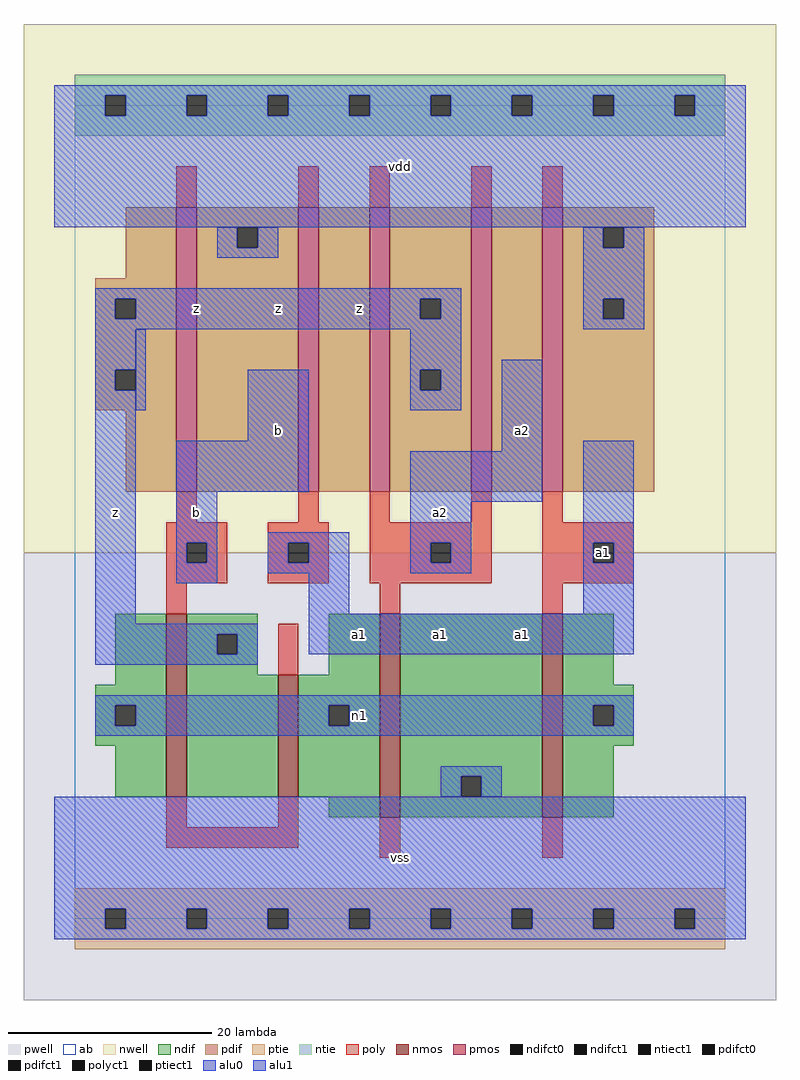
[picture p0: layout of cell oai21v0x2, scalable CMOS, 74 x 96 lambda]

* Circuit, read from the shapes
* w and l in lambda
.subckt oai21v0x2 a1 a2 b n1 vdd vss z
M1 z b n1 vss nfet w=18 l=2
M2 n1 b z vss nfet w=12 l=2
M3 vss a2 n1 vss nfet w=20 l=2
M4 n1 a1 vss vss nfet w=20 l=2
M5 vdd b z vdd pfet w=28 l=2
M6 n2 a1 vdd vdd pfet w=28 l=2
M7 z a2 n2 vdd pfet w=28 l=2
M8 n3 a2 z vdd pfet w=28 l=2
M9 vdd a1 n3 vdd pfet w=28 l=2
.ends

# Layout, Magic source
magic
tech scmos
<< ab >>
rect 0 0 64 80
<< nwell >>
rect -5 36 69 88
<< pwell >>
rect -5 -8 69 36
<< poly >>
rect 10 70 12 74
rect 22 70 24 74
rect 29 70 31 74
rect 39 70 41 74
rect 46 70 48 74
rect 10 39 12 42
rect 22 39 24 42
rect 29 39 31 42
rect 39 39 41 42
rect 9 37 15 39
rect 9 35 11 37
rect 13 35 15 37
rect 9 33 15 35
rect 19 37 25 39
rect 19 35 21 37
rect 23 35 25 37
rect 19 33 25 35
rect 29 37 41 39
rect 29 35 35 37
rect 37 35 41 37
rect 29 33 41 35
rect 46 39 48 42
rect 46 37 55 39
rect 46 35 51 37
rect 53 35 55 37
rect 46 33 55 35
rect 9 30 11 33
rect 30 30 32 33
rect 46 30 48 33
rect 20 24 22 29
rect 9 9 11 12
rect 20 9 22 12
rect 9 7 22 9
rect 30 6 32 10
rect 46 6 48 10
<< ndif >>
rect 4 23 9 30
rect 2 21 9 23
rect 2 19 4 21
rect 6 19 9 21
rect 2 17 9 19
rect 4 12 9 17
rect 11 28 18 30
rect 11 26 14 28
rect 16 26 18 28
rect 11 24 18 26
rect 25 24 30 30
rect 11 12 20 24
rect 22 21 30 24
rect 22 19 25 21
rect 27 19 30 21
rect 22 12 30 19
rect 25 10 30 12
rect 32 14 46 30
rect 32 12 38 14
rect 40 12 46 14
rect 32 10 46 12
rect 48 23 53 30
rect 48 21 55 23
rect 48 19 51 21
rect 53 19 55 21
rect 48 17 55 19
rect 48 10 53 17
<< pdif >>
rect 5 63 10 70
rect 2 61 10 63
rect 2 59 4 61
rect 6 59 10 61
rect 2 54 10 59
rect 2 52 4 54
rect 6 52 10 54
rect 2 50 10 52
rect 5 42 10 50
rect 12 68 22 70
rect 12 66 16 68
rect 18 66 22 68
rect 12 42 22 66
rect 24 42 29 70
rect 31 61 39 70
rect 31 59 34 61
rect 36 59 39 61
rect 31 54 39 59
rect 31 52 34 54
rect 36 52 39 54
rect 31 42 39 52
rect 41 42 46 70
rect 48 68 57 70
rect 48 66 52 68
rect 54 66 57 68
rect 48 61 57 66
rect 48 59 52 61
rect 54 59 57 61
rect 48 42 57 59
<< alu1 >>
rect -2 81 66 82
rect -2 79 3 81
rect 5 79 11 81
rect 13 79 19 81
rect 21 79 27 81
rect 29 79 35 81
rect 37 79 43 81
rect 45 79 51 81
rect 53 79 59 81
rect 61 79 66 81
rect -2 68 66 79
rect 2 61 38 62
rect 2 59 4 61
rect 6 59 34 61
rect 36 59 38 61
rect 2 58 38 59
rect 2 54 6 58
rect 2 52 4 54
rect 2 29 6 52
rect 33 54 38 58
rect 17 47 23 54
rect 33 52 34 54
rect 36 52 38 54
rect 33 50 38 52
rect 10 42 23 47
rect 42 46 46 55
rect 10 37 14 42
rect 33 41 46 46
rect 10 35 11 37
rect 13 35 14 37
rect 10 33 14 35
rect 19 37 27 38
rect 19 35 21 37
rect 23 35 27 37
rect 19 34 27 35
rect 33 37 39 41
rect 33 35 35 37
rect 37 35 39 37
rect 33 34 39 35
rect 50 37 55 47
rect 50 35 51 37
rect 53 35 55 37
rect 23 30 27 34
rect 50 30 55 35
rect 2 28 18 29
rect 2 26 14 28
rect 16 26 18 28
rect 23 26 55 30
rect 2 25 18 26
rect -2 1 66 12
rect -2 -1 3 1
rect 5 -1 11 1
rect 13 -1 19 1
rect 21 -1 27 1
rect 29 -1 35 1
rect 37 -1 43 1
rect 45 -1 51 1
rect 53 -1 59 1
rect 61 -1 66 1
rect -2 -2 66 -1
<< ptie >>
rect 0 1 64 3
rect 0 -1 3 1
rect 5 -1 11 1
rect 13 -1 19 1
rect 21 -1 27 1
rect 29 -1 35 1
rect 37 -1 43 1
rect 45 -1 51 1
rect 53 -1 59 1
rect 61 -1 64 1
rect 0 -3 64 -1
<< ntie >>
rect 0 81 64 83
rect 0 79 3 81
rect 5 79 11 81
rect 13 79 19 81
rect 21 79 27 81
rect 29 79 35 81
rect 37 79 43 81
rect 45 79 51 81
rect 53 79 59 81
rect 61 79 64 81
rect 0 77 64 79
<< nmos >>
rect 9 12 11 30
rect 20 12 22 24
rect 30 10 32 30
rect 46 10 48 30
<< pmos >>
rect 10 42 12 70
rect 22 42 24 70
rect 29 42 31 70
rect 39 42 41 70
rect 46 42 48 70
<< polyct1 >>
rect 11 35 13 37
rect 21 35 23 37
rect 35 35 37 37
rect 51 35 53 37
<< ndifct0 >>
rect 4 19 6 21
rect 25 19 27 21
rect 38 12 40 14
rect 51 19 53 21
<< ndifct1 >>
rect 14 26 16 28
<< ntiect1 >>
rect 3 79 5 81
rect 11 79 13 81
rect 19 79 21 81
rect 27 79 29 81
rect 35 79 37 81
rect 43 79 45 81
rect 51 79 53 81
rect 59 79 61 81
<< ptiect1 >>
rect 3 -1 5 1
rect 11 -1 13 1
rect 19 -1 21 1
rect 27 -1 29 1
rect 35 -1 37 1
rect 43 -1 45 1
rect 51 -1 53 1
rect 59 -1 61 1
<< pdifct0 >>
rect 16 66 18 68
rect 52 66 54 68
rect 52 59 54 61
<< pdifct1 >>
rect 4 59 6 61
rect 4 52 6 54
rect 34 59 36 61
rect 34 52 36 54
<< alu0 >>
rect 14 66 16 68
rect 18 66 20 68
rect 14 65 20 66
rect 50 66 52 68
rect 54 66 56 68
rect 50 61 56 66
rect 50 59 52 61
rect 54 59 56 61
rect 50 58 56 59
rect 6 50 7 58
rect 2 21 55 22
rect 2 19 4 21
rect 6 19 25 21
rect 27 19 51 21
rect 53 19 55 21
rect 2 18 55 19
rect 36 14 42 15
rect 36 12 38 14
rect 40 12 42 14
<< labels >>
rlabel alu0 28 20 28 20 6 n1
rlabel alu1 4 40 4 40 6 z
rlabel alu1 12 40 12 40 6 b
rlabel alu1 12 60 12 60 6 z
rlabel alu1 28 28 28 28 6 a1
rlabel alu1 20 48 20 48 6 b
rlabel alu1 20 60 20 60 6 z
rlabel alu1 28 60 28 60 6 z
rlabel alu1 32 6 32 6 6 vss
rlabel alu1 36 28 36 28 6 a1
rlabel alu1 44 28 44 28 6 a1
rlabel alu1 36 40 36 40 6 a2
rlabel alu1 44 48 44 48 6 a2
rlabel alu1 32 74 32 74 6 vdd
rlabel polyct1 52 36 52 36 6 a1
<< end >>
